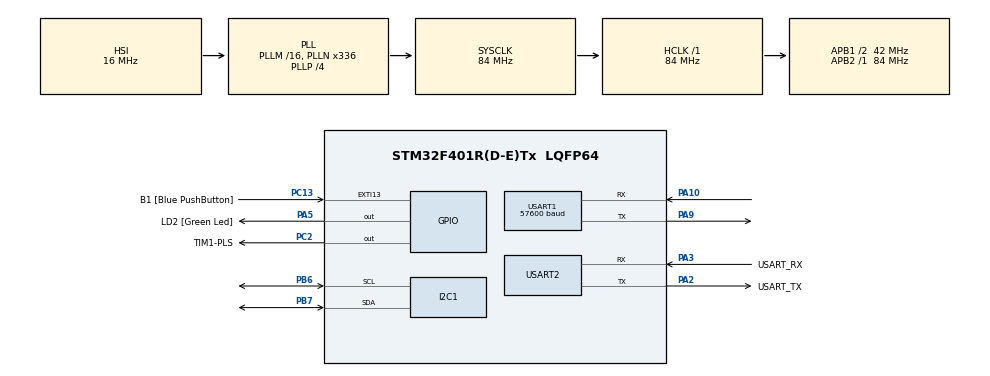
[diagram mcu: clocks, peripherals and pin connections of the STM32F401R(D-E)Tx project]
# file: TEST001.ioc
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FREERTOS.Queues01=myQueue01,16,void *,0,Dynamic,NULL,NULL;myQueue02,16,void *,0,Dynamic,NULL,NULL;myQueue03,16,void *,0,Dynamic,NULL,NULL
FREERTOS.Tasks01=Task_main,24,256,StartDefaultTask,Default,NULL,Dynamic,NULL,NULL;Task_sub1,24,512,StartTask02,Default,NULL,Dynamic,NULL,NULL;Task_sub2,24,256,StartTask03,As weak,NULL,Dynamic,NULL,NULL
I2C1.I2C_Mode=I2C_Fast
Mcu.Family=STM32F4
Mcu.Name=STM32F401R(D-E)Tx
Mcu.Package=LQFP64
NVIC.I2C1_ER_IRQn=true\:5\:0\:false\:false\:true\:true\:true\:true\:true
NVIC.I2C1_EV_IRQn=true\:5\:0\:false\:false\:true\:true\:true\:true\:true
NVIC.PriorityGroup=NVIC_PRIORITYGROUP_4
NVIC.RTC_WKUP_IRQn=true\:5\:0\:false\:false\:true\:true\:true\:true\:true
NVIC.TIM1_UP_TIM10_IRQn=true\:15\:0\:false\:false\:true\:false\:true\:true\:true
NVIC.TIM2_IRQn=true\:5\:0\:false\:false\:true\:true\:true\:true\:true
NVIC.TimeBase=TIM1_UP_TIM10_IRQn
NVIC.TimeBaseIP=TIM10
NVIC.USART1_IRQn=true\:5\:0\:false\:false\:true\:true\:true\:true\:true
NVIC.USART2_IRQn=true\:5\:0\:false\:false\:true\:true\:true\:true\:true
PA10.Mode=Asynchronous
PA10.Signal=USART1_RX
PA13.GPIO_Label=TMS
PA13.Mode=Serial_Wire
PA13.Signal=SYS_JTMS-SWDIO
PA14.GPIO_Label=TCK
PA14.Mode=Serial_Wire
PA14.Signal=SYS_JTCK-SWCLK
PA2.GPIO_Label=USART_TX
PA2.GPIO_Mode=GPIO_MODE_AF_PP
PA2.GPIO_PuPd=GPIO_NOPULL
PA2.GPIO_Speed=GPIO_SPEED_FREQ_LOW
PA2.Mode=Asynchronous
PA2.Signal=USART2_TX
PA3.GPIO_Label=USART_RX
PA3.GPIO_Mode=GPIO_MODE_AF_PP
PA3.GPIO_PuPd=GPIO_NOPULL
PA3.GPIO_Speed=GPIO_SPEED_FREQ_LOW
PA3.Mode=Asynchronous
PA3.Signal=USART2_RX
PA5.GPIO_Label=LD2 [Green Led]
PA5.GPIO_Mode=GPIO_MODE_OUTPUT_PP
PA5.GPIO_PuPd=GPIO_NOPULL
PA5.GPIO_Speed=GPIO_SPEED_FREQ_LOW
PA5.Signal=GPIO_Output
PA9.Mode=Asynchronous
PA9.Signal=USART1_TX
PB3.GPIO_Label=SWO
PB3.Signal=SYS_JTDO-SWO
PB6.Mode=I2C
PB6.Signal=I2C1_SCL
PB7.Mode=I2C
PB7.Signal=I2C1_SDA
PC13-ANTI_TAMP.GPIO_Label=B1 [Blue PushButton]
PC13-ANTI_TAMP.GPIO_ModeDefaultEXTI=GPIO_MODE_IT_FALLING
PC13-ANTI_TAMP.GPIO_PuPd=GPIO_NOPULL
PC13-ANTI_TAMP.Signal=GPXTI13
PC14-OSC32_IN.Mode=LSE-External-Oscillator
PC14-OSC32_IN.Signal=RCC_OSC32_IN
PC15-OSC32_OUT.Mode=LSE-External-Oscillator
PC15-OSC32_OUT.Signal=RCC_OSC32_OUT
PC2.GPIO_Label=TIM1-PLS
PC2.Signal=GPIO_Output
PH0\ -\ OSC_IN.Mode=HSE-External-Clock-Source
PH0\ -\ OSC_IN.Signal=RCC_OSC_IN
PH1\ -\ OSC_OUT.Mode=HSE-External-Clock-Source
PH1\ -\ OSC_OUT.Signal=RCC_OSC_OUT
ProjectManager.HeapSize=0x200
ProjectManager.StackSize=0x400
ProjectManager.TargetToolchain=STM32CubeIDE
RCC.48MHZClocksFreq_Value=48000000
RCC.AHBFreq_Value=84000000
RCC.APB1CLKDivider=RCC_HCLK_DIV2
RCC.APB1Freq_Value=42000000
RCC.APB1TimFreq_Value=84000000
RCC.APB2Freq_Value=84000000
RCC.APB2TimFreq_Value=84000000
RCC.CortexFreq_Value=84000000
RCC.HCLKFreq_Value=84000000
RCC.HSE_VALUE=8000000
RCC.HSI_VALUE=16000000
RCC.PLLN=336
RCC.PLLP=RCC_PLLP_DIV4
RCC.PLLQ=7
RCC.RCC_RTC_Clock_Source=RCC_RTCCLKSOURCE_LSE
RCC.RCC_RTC_Clock_SourceVirtual=RCC_RTCCLKSOURCE_LSE
RCC.SYSCLKFreq_VALUE=84000000
RCC.SYSCLKSource=RCC_SYSCLKSOURCE_PLLCLK
RCC.VCOOutputFreq_Value=336000000
RTC.WakeUpClock=RTC_WAKEUPCLOCK_CK_SPRE_16BITS
TIM1.Period=20999
TIM1.Prescaler=3999
TIM2.Period=209
TIM2.Prescaler=3
USART1.BaudRate=57600
USART1.VirtualMode=VM_ASYNC
USART2.VirtualMode=VM_ASYNC
VP_FREERTOS_VS_CMSIS_V2.Mode=CMSIS_V2
VP_RTC_VS_RTC_Activate.Mode=RTC_Enabled
VP_RTC_VS_RTC_WakeUp_intern.Mode=WakeUp
VP_SYS_VS_tim10.Mode=TIM10
VP_TIM1_VS_ClockSourceINT.Mode=Internal
VP_TIM2_VS_ClockSourceINT.Mode=Internal
board=NUCLEO-F401RE

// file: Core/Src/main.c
/* USER CODE BEGIN Header */
/**
  ******************************************************************************
  * @file           : main.c
  * @brief          : Main program body
  ******************************************************************************
  * @attention
  *
  * Copyright (c) 2023 STMicroelectronics.
  * All rights reserved.
  *
  * This software is licensed under terms that can be found in the LICENSE file
  * in the root directory of this software component.
  * If no LICENSE file comes with this software, it is provided AS-IS.
  *
  ******************************************************************************
  */
/* USER CODE END Header */
#include "main.h"
#include "cmsis_os.h"

/* USER CODE BEGIN Includes */
#include "usr_system.h"
/* USER CODE END Includes */

I2C_HandleTypeDef hi2c1;

RTC_HandleTypeDef hrtc;

TIM_HandleTypeDef htim1;
TIM_HandleTypeDef htim2;

UART_HandleTypeDef huart1;
UART_HandleTypeDef huart2;

/* Definitions for Task_main */
osThreadId_t Task_mainHandle;
const osThreadAttr_t Task_main_attributes = {
  .name = "Task_main",
  .stack_size = 256 * 4,
  .priority = (osPriority_t) osPriorityNormal,
};
/* Definitions for Task_sub1 */
osThreadId_t Task_sub1Handle;
const osThreadAttr_t Task_sub1_attributes = {
  .name = "Task_sub1",
  .stack_size = 512 * 4,
  .priority = (osPriority_t) osPriorityNormal,
};
/* Definitions for Task_sub2 */
osThreadId_t Task_sub2Handle;
const osThreadAttr_t Task_sub2_attributes = {
  .name = "Task_sub2",
  .stack_size = 256 * 4,
  .priority = (osPriority_t) osPriorityNormal,
};
/* Definitions for myQueue01 */
osMessageQueueId_t myQueue01Handle;
const osMessageQueueAttr_t myQueue01_attributes = {
  .name = "myQueue01"
};
/* Definitions for myQueue02 */
osMessageQueueId_t myQueue02Handle;
const osMessageQueueAttr_t myQueue02_attributes = {
  .name = "myQueue02"
};
/* Definitions for myQueue03 */
osMessageQueueId_t myQueue03Handle;
const osMessageQueueAttr_t myQueue03_attributes = {
  .name = "myQueue03"
};

void SystemClock_Config(void);
static void MX_GPIO_Init(void);
static void MX_USART2_UART_Init(void);
static void MX_RTC_Init(void);
static void MX_TIM1_Init(void);
static void MX_TIM2_Init(void);
static void MX_USART1_UART_Init(void);
static void MX_I2C1_Init(void);
void StartDefaultTask(void *argument);
void StartTask02(void *argument);
void StartTask03(void *argument);

/* USER CODE BEGIN PFP */
void user_init(void);			// SK ADD
void user_main_loop(void);		// SK ADD
void rtc_display(void);			// SK ADD
void debu_main(void);
int getch_uart1(void);
int	SKprintf_uart1 (const char *string, ...);
void rs485_com_task(void);
void LogInfo_display(void);
void LogInfo_clear(void);
void vl53_init(void);
void vl53_main(void);

/* USER CODE END PFP */

int main(void)
{

  /* MCU Configuration--------------------------------------------------------*/

  /* Reset of all peripherals, Initializes the Flash interface and the Systick. */
  HAL_Init();

  /* Configure the system clock */
  SystemClock_Config();

  /* Initialize all configured peripherals */
  MX_GPIO_Init();
  MX_USART2_UART_Init();
  MX_RTC_Init();
  MX_TIM1_Init();
  MX_TIM2_Init();
  MX_USART1_UART_Init();
  MX_I2C1_Init();
  /* USER CODE BEGIN 2 */
  //HAL_GPIO_TogglePin(GPIOA, GPIO_PIN_5);
  LogInfo_clear();
  user_init();		// SK ADDSKprint

  /* USER CODE END 2 */

  /* Init scheduler */
  osKernelInitialize();

  /* Create the queue(s) */
  /* creation of myQueue01 */
  myQueue01Handle = osMessageQueueNew (16, sizeof(void *), &myQueue01_attributes);

  /* creation of myQueue02 */
  myQueue02Handle = osMessageQueueNew (16, sizeof(void *), &myQueue02_attributes);

  /* creation of myQueue03 */
  myQueue03Handle = osMessageQueueNew (16, sizeof(void *), &myQueue03_attributes);

  /* Create the thread(s) */
  /* creation of Task_main */
  Task_mainHandle = osThreadNew(StartDefaultTask, NULL, &Task_main_attributes);

  /* creation of Task_sub1 */
  Task_sub1Handle = osThreadNew(StartTask02, NULL, &Task_sub1_attributes);

  /* creation of Task_sub2 */
  Task_sub2Handle = osThreadNew(StartTask03, NULL, &Task_sub2_attributes);

  /* USER CODE BEGIN RTOS_EVENTS */
  SKprintf("osKernelStart()\r\n");
  /* add events, ... */
  /* USER CODE END RTOS_EVENTS */

  /* Start scheduler */
  osKernelStart();
  /* We should never get here as control is now taken by the scheduler */
  /* Infinite loop */
  while (1)
  {

    /* USER CODE BEGIN 3 */
	 //user_main_loop();		// SK ADD
  }
  /* USER CODE END 3 */
}

void SystemClock_Config(void)
{
  RCC_OscInitTypeDef RCC_OscInitStruct = {0};
  RCC_ClkInitTypeDef RCC_ClkInitStruct = {0};

  /** Configure the main internal regulator output voltage
  */
  __HAL_RCC_PWR_CLK_ENABLE();
  __HAL_PWR_VOLTAGESCALING_CONFIG(PWR_REGULATOR_VOLTAGE_SCALE2);

  /** Initializes the RCC Oscillators according to the specified parameters
  * in the RCC_OscInitTypeDef structure.
  */
  RCC_OscInitStruct.OscillatorType = RCC_OSCILLATORTYPE_HSI|RCC_OSCILLATORTYPE_LSE;
  RCC_OscInitStruct.LSEState = RCC_LSE_ON;
  RCC_OscInitStruct.HSIState = RCC_HSI_ON;
  RCC_OscInitStruct.HSICalibrationValue = RCC_HSICALIBRATION_DEFAULT;
  RCC_OscInitStruct.PLL.PLLState = RCC_PLL_ON;
  RCC_OscInitStruct.PLL.PLLSource = RCC_PLLSOURCE_HSI;
  RCC_OscInitStruct.PLL.PLLM = 16;
  RCC_OscInitStruct.PLL.PLLN = 336;
  RCC_OscInitStruct.PLL.PLLP = RCC_PLLP_DIV4;
  RCC_OscInitStruct.PLL.PLLQ = 7;
  if (HAL_RCC_OscConfig(&RCC_OscInitStruct) != HAL_OK)
  {
    Error_Handler();
  }

  /** Initializes the CPU, AHB and APB buses clocks
  */
  RCC_ClkInitStruct.ClockType = RCC_CLOCKTYPE_HCLK|RCC_CLOCKTYPE_SYSCLK
                              |RCC_CLOCKTYPE_PCLK1|RCC_CLOCKTYPE_PCLK2;
  RCC_ClkInitStruct.SYSCLKSource = RCC_SYSCLKSOURCE_PLLCLK;
  RCC_ClkInitStruct.AHBCLKDivider = RCC_SYSCLK_DIV1;
  RCC_ClkInitStruct.APB1CLKDivider = RCC_HCLK_DIV2;
  RCC_ClkInitStruct.APB2CLKDivider = RCC_HCLK_DIV1;

  if (HAL_RCC_ClockConfig(&RCC_ClkInitStruct, FLASH_LATENCY_2) != HAL_OK)
  {
    Error_Handler();
  }
}

static void MX_I2C1_Init(void)
{

  hi2c1.Instance = I2C1;
  hi2c1.Init.ClockSpeed = 400000;
  hi2c1.Init.DutyCycle = I2C_DUTYCYCLE_2;
  hi2c1.Init.OwnAddress1 = 0;
  hi2c1.Init.AddressingMode = I2C_ADDRESSINGMODE_7BIT;
  hi2c1.Init.DualAddressMode = I2C_DUALADDRESS_DISABLE;
  hi2c1.Init.OwnAddress2 = 0;
  hi2c1.Init.GeneralCallMode = I2C_GENERALCALL_DISABLE;
  hi2c1.Init.NoStretchMode = I2C_NOSTRETCH_DISABLE;
  if (HAL_I2C_Init(&hi2c1) != HAL_OK)
  {
    Error_Handler();
  }

}

static void MX_RTC_Init(void)
{

  RTC_TimeTypeDef sTime = {0};
  RTC_DateTypeDef sDate = {0};

  /** Initialize RTC Only
  */
  hrtc.Instance = RTC;
  hrtc.Init.HourFormat = RTC_HOURFORMAT_24;
  hrtc.Init.AsynchPrediv = 127;
  hrtc.Init.SynchPrediv = 255;
  hrtc.Init.OutPut = RTC_OUTPUT_DISABLE;
  hrtc.Init.OutPutPolarity = RTC_OUTPUT_POLARITY_HIGH;
  hrtc.Init.OutPutType = RTC_OUTPUT_TYPE_OPENDRAIN;
  if (HAL_RTC_Init(&hrtc) != HAL_OK)
  {
    Error_Handler();
  }

  /** Initialize RTC and set the Time and Date
  */
  sTime.Hours = 0x0;
  sTime.Minutes = 0x0;
  sTime.Seconds = 0x0;
  sTime.DayLightSaving = RTC_DAYLIGHTSAVING_NONE;
  sTime.StoreOperation = RTC_STOREOPERATION_RESET;
  if (HAL_RTC_SetTime(&hrtc, &sTime, RTC_FORMAT_BCD) != HAL_OK)
  {
    Error_Handler();
  }
  sDate.WeekDay = RTC_WEEKDAY_MONDAY;
  sDate.Month = RTC_MONTH_JANUARY;
  sDate.Date = 0x1;
  sDate.Year = 0x0;

  if (HAL_RTC_SetDate(&hrtc, &sDate, RTC_FORMAT_BCD) != HAL_OK)
  {
    Error_Handler();
  }

  /** Enable the WakeUp
  */
  if (HAL_RTCEx_SetWakeUpTimer_IT(&hrtc, 0, RTC_WAKEUPCLOCK_CK_SPRE_16BITS) != HAL_OK)
  {
    Error_Handler();
  }
  /* USER CODE BEGIN RTC_Init 2 */
#define MAGIC_NO 0x12a5			// SK ADD

  if(HAL_RTCEx_BKUPRead(&hrtc, RTC_BKP_DR0) != MAGIC_NO)
  {
    RTC_TimeTypeDef sTime = {0};
    RTC_DateTypeDef sDate = {0};

    sTime.Hours = 1;
    sTime.Minutes = 0;
    sTime.Seconds = 0;
    if (HAL_RTC_SetTime(&hrtc, &sTime, RTC_FORMAT_BIN) != HAL_OK)
    {
      Error_Handler();
    }
    sDate.WeekDay = RTC_WEEKDAY_WEDNESDAY;
    sDate.Month = RTC_MONTH_JANUARY;
    sDate.Date = 1;
    sDate.Year = 20;
    if (HAL_RTC_SetDate(&hrtc, &sDate, RTC_FORMAT_BIN) != HAL_OK)
    {
      Error_Handler();

    }
    HAL_RTCEx_BKUPWrite(&hrtc, RTC_BKP_DR0, MAGIC_NO);
  }
  /* USER CODE END RTC_Init 2 */

}

static void MX_TIM1_Init(void)
{

  TIM_ClockConfigTypeDef sClockSourceConfig = {0};
  TIM_MasterConfigTypeDef sMasterConfig = {0};

  htim1.Instance = TIM1;
  htim1.Init.Prescaler = 3999;
  htim1.Init.CounterMode = TIM_COUNTERMODE_UP;
  htim1.Init.Period = 20999;
  htim1.Init.ClockDivision = TIM_CLOCKDIVISION_DIV1;
  htim1.Init.RepetitionCounter = 0;
  htim1.Init.AutoReloadPreload = TIM_AUTORELOAD_PRELOAD_DISABLE;
  if (HAL_TIM_Base_Init(&htim1) != HAL_OK)
  {
    Error_Handler();
  }
  sClockSourceConfig.ClockSource = TIM_CLOCKSOURCE_INTERNAL;
  if (HAL_TIM_ConfigClockSource(&htim1, &sClockSourceConfig) != HAL_OK)
  {
    Error_Handler();
  }
  sMasterConfig.MasterOutputTrigger = TIM_TRGO_RESET;
  sMasterConfig.MasterSlaveMode = TIM_MASTERSLAVEMODE_DISABLE;
  if (HAL_TIMEx_MasterConfigSynchronization(&htim1, &sMasterConfig) != HAL_OK)
  {
    Error_Handler();
  }
  /* USER CODE BEGIN TIM1_Init 2 */
  HAL_TIM_Base_Start_IT(&htim1);    // SK ADD
  /* USER CODE END TIM1_Init 2 */

}

static void MX_TIM2_Init(void)
{

  TIM_ClockConfigTypeDef sClockSourceConfig = {0};
  TIM_MasterConfigTypeDef sMasterConfig = {0};

  htim2.Instance = TIM2;
  htim2.Init.Prescaler = 3;
  htim2.Init.CounterMode = TIM_COUNTERMODE_UP;
  htim2.Init.Period = 209;
  htim2.Init.ClockDivision = TIM_CLOCKDIVISION_DIV1;
  htim2.Init.AutoReloadPreload = TIM_AUTORELOAD_PRELOAD_DISABLE;
  if (HAL_TIM_Base_Init(&htim2) != HAL_OK)
  {
    Error_Handler();
  }
  sClockSourceConfig.ClockSource = TIM_CLOCKSOURCE_INTERNAL;
  if (HAL_TIM_ConfigClockSource(&htim2, &sClockSourceConfig) != HAL_OK)
  {
    Error_Handler();
  }
  sMasterConfig.MasterOutputTrigger = TIM_TRGO_RESET;
  sMasterConfig.MasterSlaveMode = TIM_MASTERSLAVEMODE_DISABLE;
  if (HAL_TIMEx_MasterConfigSynchronization(&htim2, &sMasterConfig) != HAL_OK)
  {
    Error_Handler();
  }
  /* USER CODE BEGIN TIM2_Init 2 */
  HAL_TIM_Base_Start_IT(&htim2);    // SK ADD
  /* USER CODE END TIM2_Init 2 */

}

static void MX_USART1_UART_Init(void)
{

  huart1.Instance = USART1;
  huart1.Init.BaudRate = 57600;
  huart1.Init.WordLength = UART_WORDLENGTH_8B;
  huart1.Init.StopBits = UART_STOPBITS_1;
  huart1.Init.Parity = UART_PARITY_NONE;
  huart1.Init.Mode = UART_MODE_TX_RX;
  huart1.Init.HwFlowCtl = UART_HWCONTROL_NONE;
  huart1.Init.OverSampling = UART_OVERSAMPLING_16;
  if (HAL_UART_Init(&huart1) != HAL_OK)
  {
    Error_Handler();
  }

}

static void MX_USART2_UART_Init(void)
{

  huart2.Instance = USART2;
  huart2.Init.BaudRate = 115200;
  huart2.Init.WordLength = UART_WORDLENGTH_8B;
  huart2.Init.StopBits = UART_STOPBITS_1;
  huart2.Init.Parity = UART_PARITY_NONE;
  huart2.Init.Mode = UART_MODE_TX_RX;
  huart2.Init.HwFlowCtl = UART_HWCONTROL_NONE;
  huart2.Init.OverSampling = UART_OVERSAMPLING_16;
  if (HAL_UART_Init(&huart2) != HAL_OK)
  {
    Error_Handler();
  }

}

static void MX_GPIO_Init(void)
{
  GPIO_InitTypeDef GPIO_InitStruct = {0};

  /* GPIO Ports Clock Enable */
  __HAL_RCC_GPIOC_CLK_ENABLE();
  __HAL_RCC_GPIOH_CLK_ENABLE();
  __HAL_RCC_GPIOA_CLK_ENABLE();
  __HAL_RCC_GPIOB_CLK_ENABLE();

  /*Configure GPIO pin Output Level */
  HAL_GPIO_WritePin(TIM1_PLS_GPIO_Port, TIM1_PLS_Pin, GPIO_PIN_RESET);

  /*Configure GPIO pin Output Level */
  HAL_GPIO_WritePin(LD2_GPIO_Port, LD2_Pin, GPIO_PIN_RESET);

  /*Configure GPIO pin : B1_Pin */
  GPIO_InitStruct.Pin = B1_Pin;
  GPIO_InitStruct.Mode = GPIO_MODE_IT_FALLING;
  GPIO_InitStruct.Pull = GPIO_NOPULL;
  HAL_GPIO_Init(B1_GPIO_Port, &GPIO_InitStruct);

  /*Configure GPIO pin : TIM1_PLS_Pin */
  GPIO_InitStruct.Pin = TIM1_PLS_Pin;
  GPIO_InitStruct.Mode = GPIO_MODE_OUTPUT_PP;
  GPIO_InitStruct.Pull = GPIO_NOPULL;
  GPIO_InitStruct.Speed = GPIO_SPEED_FREQ_LOW;
  HAL_GPIO_Init(TIM1_PLS_GPIO_Port, &GPIO_InitStruct);

  /*Configure GPIO pin : LD2_Pin */
  GPIO_InitStruct.Pin = LD2_Pin;
  GPIO_InitStruct.Mode = GPIO_MODE_OUTPUT_PP;
  GPIO_InitStruct.Pull = GPIO_NOPULL;
  GPIO_InitStruct.Speed = GPIO_SPEED_FREQ_LOW;
  HAL_GPIO_Init(LD2_GPIO_Port, &GPIO_InitStruct);

}

void StartDefaultTask(void *argument)
{
  /* USER CODE BEGIN 5 */
	task_chk_init();
	//vl53_init();
  /* Infinite loop */
  for(;;)
  {
//	  rtc_display();
	  //HAL_GPIO_TogglePin(GPIOA, GPIO_PIN_5);
	  task_stack_chk();
	  vl53_main();

    osDelay(1000);
    //Set_logInfo("100msec task wakup");
    //rtc_display();
    //LogInfo_display();
  }
  /* USER CODE END 5 */
}

void StartTask02(void *argument)
{
  /* USER CODE BEGIN StartTask02 */
	 SKprintf("task2 start()\r\n");

	 SKprintf("task2 loop()\r\n");
  /* Infinite loop */
  for(;;)
  {
	  //task_stack_chk();
	  debu_main();
	  TimerEventCtrl();
	  //Set_logInfo("10msec task wakup");
//	  user_main_loop();		// SK ADD
    //osDelay(10);
  }
  /* USER CODE END StartTask02 */
}

__weak void StartTask03(void *argument)
{
  /* USER CODE BEGIN StartTask03 */
    osDelay(100);
    //char c[2];

	//SKprintf_uart1("===================\r\n");
	SKprintf_uart1("=== UART1 START ===\r\n");
	//SKprintf_uart1("===================\r\n");
	tasuk3_init();

	//uart_Rcv_init(SK_UART1_RS485);

	/* Infinite loop */

	for(;;)
	{
		rs485_com_task();
		osDelay(100);
	}
  /* USER CODE END StartTask03 */
}

void HAL_TIM_PeriodElapsedCallback(TIM_HandleTypeDef *htim)
{
  if (htim->Instance == TIM10) {
    HAL_IncTick();
  }
}

void Error_Handler(void)
{
  __disable_irq();
  while (1)
  {
  }
}
